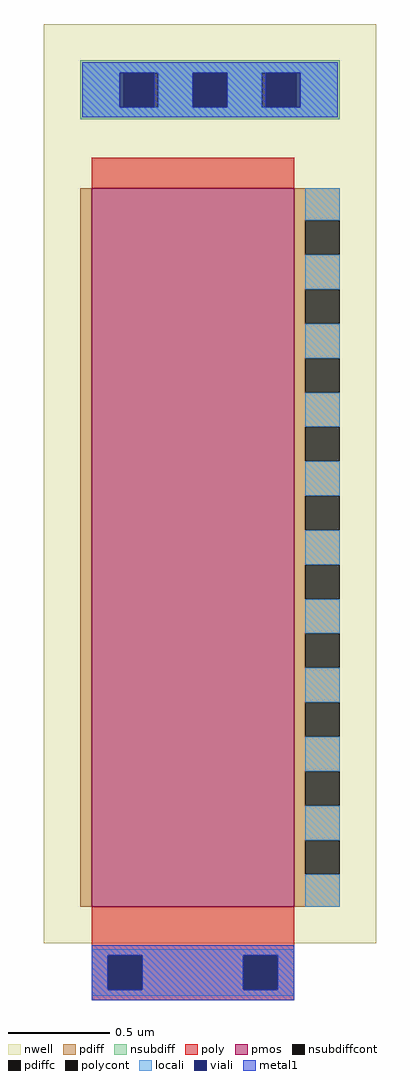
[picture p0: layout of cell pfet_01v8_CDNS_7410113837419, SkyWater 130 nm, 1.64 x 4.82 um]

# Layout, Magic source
magic
tech sky130A
magscale 1 2
<< nwell >>
rect -47 -36 281 872
<< pmos >>
rect 0 0 200 710
<< pdiff >>
rect -11 0 0 710
rect 200 678 245 710
rect 200 644 211 678
rect 200 610 245 644
rect 200 576 211 610
rect 200 542 245 576
rect 200 508 211 542
rect 200 474 245 508
rect 200 440 211 474
rect 200 406 245 440
rect 200 372 211 406
rect 200 338 245 372
rect 200 304 211 338
rect 200 270 245 304
rect 200 236 211 270
rect 200 202 245 236
rect 200 168 211 202
rect 200 134 245 168
rect 200 100 211 134
rect 200 66 245 100
rect 200 32 211 66
rect 200 0 245 32
<< pdiffc >>
rect 211 644 245 678
rect 211 576 245 610
rect 211 508 245 542
rect 211 440 245 474
rect 211 372 245 406
rect 211 304 245 338
rect 211 236 245 270
rect 211 168 245 202
rect 211 100 245 134
rect 211 32 245 66
<< nsubdiff >>
rect -11 824 245 836
rect -11 790 32 824
rect 66 790 100 824
rect 134 790 168 824
rect 202 790 245 824
rect -11 778 245 790
<< nsubdiffcont >>
rect 32 790 66 824
rect 100 790 134 824
rect 168 790 202 824
<< poly >>
rect 0 710 200 740
rect 0 -48 200 0
rect 0 -82 16 -48
rect 50 -82 150 -48
rect 184 -82 200 -48
rect 0 -92 200 -82
<< polycont >>
rect 16 -82 50 -48
rect 150 -82 184 -48
<< locali >>
rect -9 824 243 834
rect -9 790 28 824
rect 66 790 100 824
rect 134 790 168 824
rect 206 790 243 824
rect -9 780 243 790
rect 211 678 245 710
rect 211 610 245 644
rect 211 542 245 576
rect 211 474 245 508
rect 211 406 245 440
rect 211 338 245 372
rect 211 270 245 304
rect 211 202 245 236
rect 211 134 245 168
rect 211 66 245 100
rect 211 0 245 32
rect 0 -48 200 -42
rect 0 -82 16 -48
rect 50 -82 150 -48
rect 184 -82 200 -48
rect 0 -88 200 -82
<< viali >>
rect 28 790 32 824
rect 32 790 62 824
rect 100 790 134 824
rect 172 790 202 824
rect 202 790 206 824
rect 16 -82 50 -48
rect 150 -82 184 -48
<< metal1 >>
rect -9 824 243 834
rect -9 790 28 824
rect 62 790 100 824
rect 134 790 172 824
rect 206 790 243 824
rect -9 780 243 790
rect 0 -48 200 -38
rect 0 -82 16 -48
rect 50 -82 150 -48
rect 184 -82 200 -48
rect 0 -92 200 -82
<< end >>
